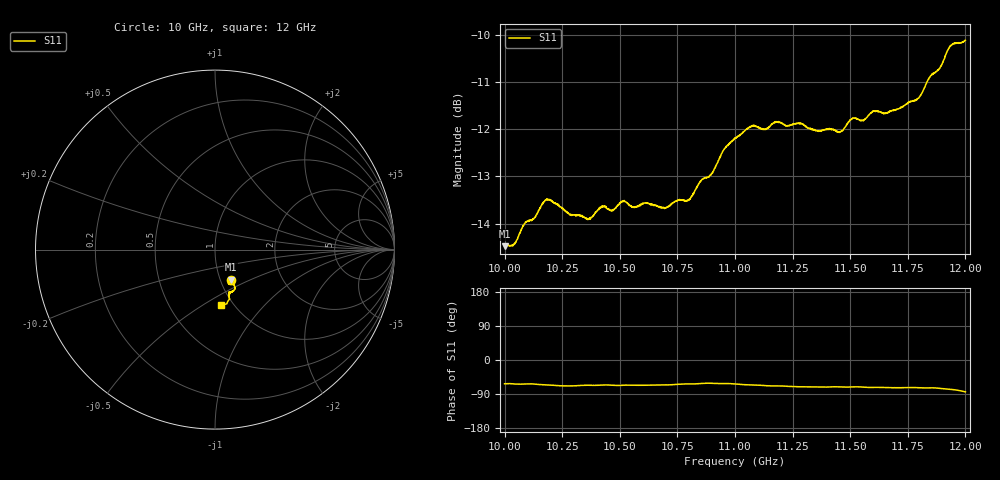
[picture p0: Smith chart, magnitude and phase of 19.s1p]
[Version] 2.0
! Rohde & Schwarz Vector Network Analyzer
! Rohde-Schwarz,ZNL20-2Port,1323001220200009,1.71.1.10-23.02.1.238
! Port Assignments:
! Nominal Port -> Actual Test Port
!  1 -> 1
! Created: GMT 2024-09-04 14:22:18
# Hz S DB R 50
[Number of Ports] 1
! freq[Hz]  S11[mag dB]  S11[ang]
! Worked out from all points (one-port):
!   2001 points, 10 GHz to 12 GHz, reference 50 ohm
!   lowest |S11| = -14.5 dB at 10 GHz (marker M1), VSWR 1.47, Z = 55.9 - j19.5 ohm
!   |S11| at or under -10 dB: start of sweep to end of sweep
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[Number of Frequencies] 28
[Network Data]
1e10  -14.47 -62.7
1.0001e10  -14.47 -62.6
1.0042e10  -14.43 -63.1
1.0087e10  -13.99 -63.2
1.0127e10  -13.90 -63.4
1.0177e10  -13.51 -65.5
1.025e10  -13.67 -68.2
1.0362e10  -13.89 -66.6
1.042e10  -13.65 -66.2
1.0467e10  -13.71 -66.6
1.05e10  -13.56 -67.0
1.0692e10  -13.66 -65.6
1.075e10  -13.52 -64.2
1.0805e10  -13.48 -63.2
1.0872e10  -13.03 -61.2
1.0897e10  -12.95 -61.4
1.0953e10  -12.41 -62.1
1.1e10  -12.19 -63.1
1.1074e10  -11.93 -66.0
1.125e10  -11.90 -70.3
1.137e10  -12.04 -71.7
1.1453e10  -12.06 -70.9
1.15e10  -11.80 -71.3
1.175e10  -11.45 -72.9
1.1797e10  -11.34 -73.2
1.1872e10  -10.79 -73.8
1.1937e10  -10.22 -77.6
1.2e10  -10.12 -84.0
[End]
